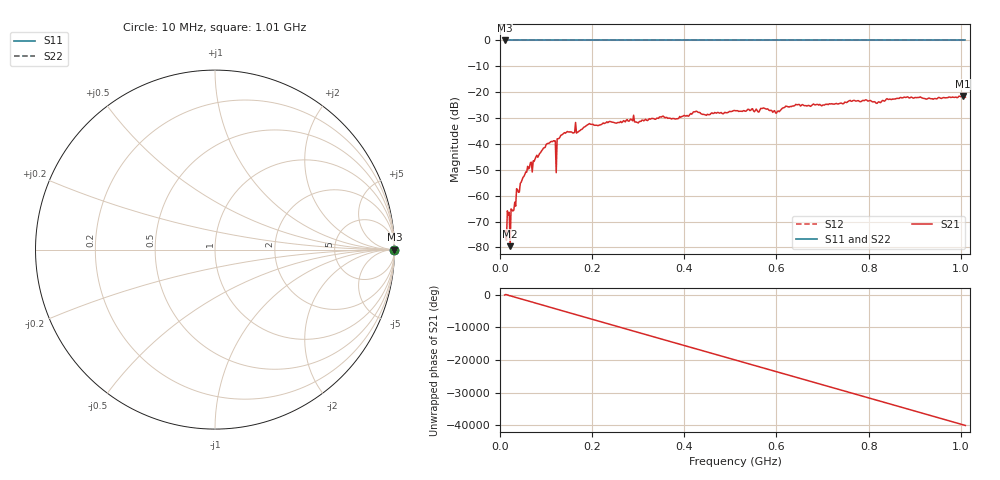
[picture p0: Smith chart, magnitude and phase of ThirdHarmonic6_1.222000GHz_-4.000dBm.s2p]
! 8/16/2025 12:49:29 PM
! C:\ANRITSUVNA\TEMP\TEMP.S2P
! CHANNEL.1
! TR.MEASUREMENT
! RAW.DATA
! RF.CORRECTION.OFF
! AVERAGING.OFF
! IF.BANDWIDTH: 5KHZ
! SWEEPTYPE:  FREQ.SWEEP(Linear)
! Reference Plane Port Info
! PORT:  PORT1  PORT2
! DISTANCE:  0  m  0  m
! TIME:  0  s  0  s
! PHASE.OFFSET:  0  deg.  0  deg.
! LOSS:  0  dB  0  dB
! REF.LOSS:  0  dB  0  dB
! REF.FREQ:  0  Hz  0  Hz
! Power Info
! POWER:  -20  dBm  -20  dBm
! EFF.POWER:  -20  dBm  -20  dBm
! SOURCE.ATTEN:  0  dB  0  dB
! TEST.ATTEN:  0  dB  0  dB
# GHZ S RI R 50.0
! FREQ.GHZ  S11RE  S11IM  S21RE  S21IM  S12RE  S12IM  S22RE  S22IM
!; PortSelection: Port_12
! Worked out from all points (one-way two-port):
!   501 points, 10 MHz to 1.01 GHz, reference 50 ohm
!   highest |S21| = -21.49 dB at 1.004 GHz (marker M1); lowest = -79.5 dB at 22 MHz (marker M2)
!   lowest |S11| = 0.0 dB at 10 MHz (marker M3)
!   |S11| at or under -10 dB: nowhere
!   |S22| runs from 0.0 to 0.0 dB; largest |S21 - S12| = 1.1
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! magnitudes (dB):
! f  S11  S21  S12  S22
! 10 MHz  0.0  -73.6  0.0  0.0
! 16 MHz  0.0  -65.9  0.0  0.0
! 18 MHz  0.0  -67.6  0.0  0.0
! 22 MHz  0.0  -79.5  0.0  0.0
! 26 MHz  0.0  -65.5  0.0  0.0
! 28 MHz  0.0  -65.9  0.0  0.0
! 40 MHz  0.0  -58.7  0.0  0.0
! 64 MHz  0.0  -49.1  0.0  0.0
! 104 MHz  0.0  -39.8  0.0  0.0
! 116 MHz  0.0  -38.8  0.0  0.0
! 118 MHz  0.0  -38.8  0.0  0.0
! 126 MHz  0.0  -38.0  0.0  0.0
! 128 MHz  0.0  -37.9  0.0  0.0
! 136 MHz  0.0  -36.3  0.0  0.0
! 178 MHz  0.0  -34.3  0.0  0.0
! 344 MHz  0.0  -30.1  0.0  0.0
! 510 MHz  0.0  -27.1  0.0  0.0
! 602 MHz  0.0  -27.4  0.0  0.0
! 678 MHz  0.0  -24.9  0.0  0.0
! 844 MHz  0.0  -22.8  0.0  0.0
! 1.004 GHz  0.0  -21.5  0.0  0.0
! 1.01 GHz  0.0  -22.0  0.0  0.0
